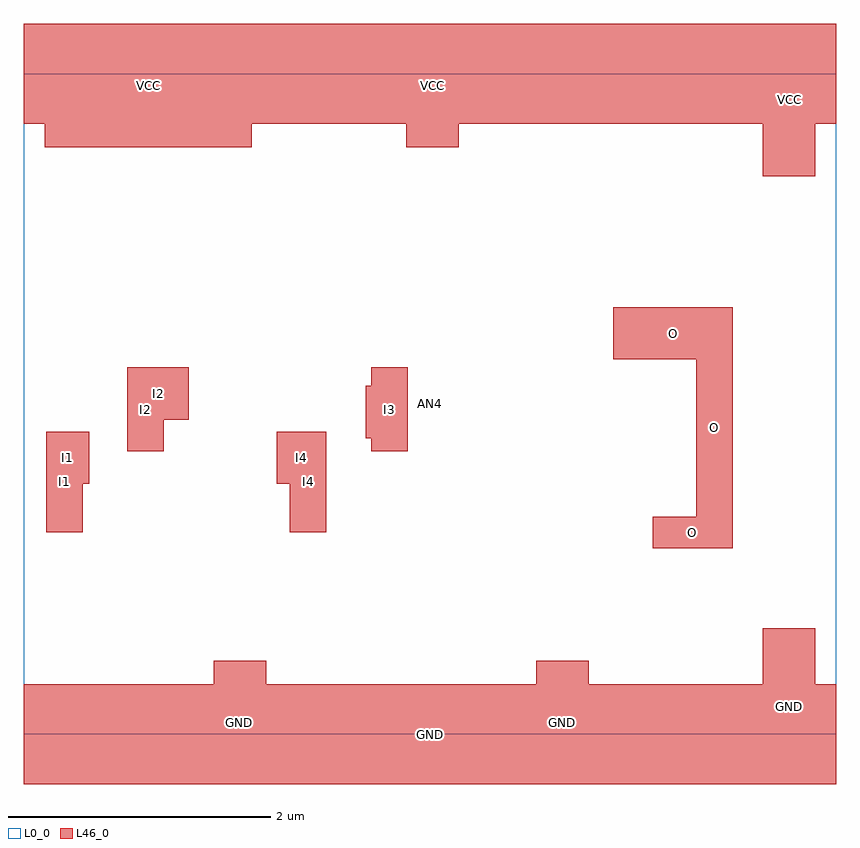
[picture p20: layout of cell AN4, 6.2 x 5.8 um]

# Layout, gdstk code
import gdstk
lib = gdstk.Library(unit=1e-6, precision=1e-09)
def R(c, l, rs):  # rectangles x0, y0, x1, y1
    for r in rs: c.add(gdstk.rectangle(r[:2], r[2:], *l))
L0_0 = (0, 0)
L46_0 = (46, 0)

an4 = lib.new_cell('AN4')
R(an4, L0_0, [(0,0,6.2,5.04)])
R(an4, L46_0, [(0,-0.38,6.2,0.38), (1.45,-0.38,1.85,0.56), (3.91,-0.38,4.31,0.56), (5.64,-0.38,6.04,0.81), (4.8,1.42,5.41,1.66), (5.13,1.42,5.41,3.26), (0.17,1.54,0.45,2.31), (2.03,1.54,2.31,2.31), (0.17,1.91,0.5,2.31), (1.93,1.91,2.31,2.31), (0.79,2.16,1.07,2.8), (2.65,2.16,2.93,2.8), (2.61,2.26,2.93,2.66), (0.79,2.4,1.26,2.8), (4.5,2.86,5.41,3.26), (5.64,4.26,6.04,5.42), (0.16,4.48,1.74,5.42), (2.92,4.48,3.32,5.42), (0,4.66,6.2,5.42)])
an4.add(gdstk.Label('AN4', (3.1,2.52), layer=0, texttype=0))
an4.add(gdstk.Label('O', (5.27,2.34), layer=101, texttype=0))
an4.add(gdstk.Label('O', (4.955,3.06), layer=101, texttype=0))
an4.add(gdstk.Label('O', (5.105,1.54), layer=101, texttype=0))
an4.add(gdstk.Label('I2', (1.025,2.6), layer=101, texttype=0))
an4.add(gdstk.Label('I2', (0.93,2.48), layer=101, texttype=0))
an4.add(gdstk.Label('I1', (0.335,2.11), layer=101, texttype=0))
an4.add(gdstk.Label('I1', (0.31,1.925), layer=101, texttype=0))
an4.add(gdstk.Label('I4', (2.12,2.11), layer=101, texttype=0))
an4.add(gdstk.Label('I4', (2.17,1.925), layer=101, texttype=0))
an4.add(gdstk.Label('I3', (2.79,2.48), layer=101, texttype=0))
an4.add(gdstk.Label('I3', (2.77,2.46), layer=101, texttype=0))
an4.add(gdstk.Label('GND', (4.11,0.09), layer=101, texttype=0))
an4.add(gdstk.Label('GND', (5.84,0.215), layer=101, texttype=0))
an4.add(gdstk.Label('GND', (3.1,0), layer=101, texttype=0))
an4.add(gdstk.Label('GND', (1.65,0.09), layer=101, texttype=0))
an4.add(gdstk.Label('VCC', (3.12,4.95), layer=101, texttype=0))
an4.add(gdstk.Label('VCC', (5.84,4.84), layer=101, texttype=0))
an4.add(gdstk.Label('VCC', (3.1,5.04), layer=101, texttype=0))
an4.add(gdstk.Label('VCC', (0.95,4.95), layer=101, texttype=0))

lib.write_gds('AN4.gds')
